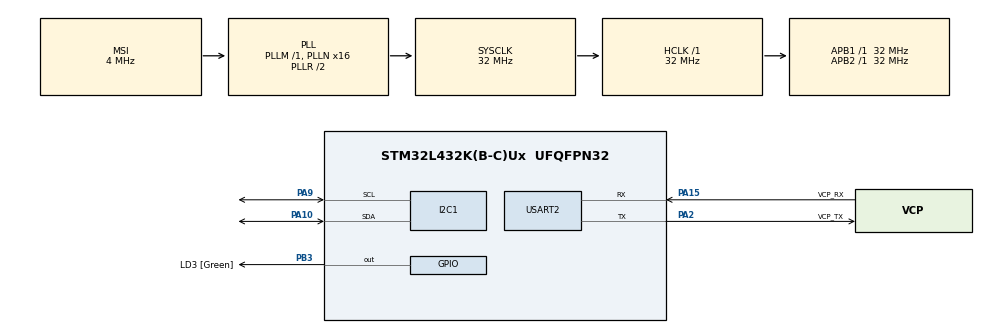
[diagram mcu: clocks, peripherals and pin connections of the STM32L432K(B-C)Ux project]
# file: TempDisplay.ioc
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I2C1.Timing=0x00707CBB
Mcu.Family=STM32L4
Mcu.Name=STM32L432K(B-C)Ux
Mcu.Package=UFQFPN32
NVIC.I2C1_EV_IRQn=true\:0\:0\:false\:false\:true\:true\:true
NVIC.PriorityGroup=NVIC_PRIORITYGROUP_4
PA0.GPIO_Label=MCO [High speed clock in]
PA0.Mode=HSE-External-Clock-Source-for-LittleOrca
PA0.Signal=RCC_CK_IN
PA10.Mode=I2C
PA10.Signal=I2C1_SDA
PA13\ (JTMS-SWDIO).GPIO_Label=SWDIO
PA13\ (JTMS-SWDIO).Mode=Serial_Wire
PA13\ (JTMS-SWDIO).Signal=SYS_JTMS-SWDIO
PA14\ (JTCK-SWCLK).GPIO_Label=SWCLK
PA14\ (JTCK-SWCLK).Mode=Serial_Wire
PA14\ (JTCK-SWCLK).Signal=SYS_JTCK-SWCLK
PA15\ (JTDI).GPIO_Label=VCP_RX
PA15\ (JTDI).Mode=Asynchronous
PA15\ (JTDI).Signal=USART2_RX
PA2.GPIO_Label=VCP_TX
PA2.Mode=Asynchronous
PA2.Signal=USART2_TX
PA9.Mode=I2C
PA9.Signal=I2C1_SCL
PB3\ (JTDO-TRACESWO).GPIO_Label=LD3 [Green]
PB3\ (JTDO-TRACESWO).Signal=GPIO_Output
PC14-OSC32_IN\ (PC14).Mode=LSE-External-Oscillator
PC14-OSC32_IN\ (PC14).Signal=RCC_OSC32_IN
PC15-OSC32_OUT\ (PC15).Mode=LSE-External-Oscillator
PC15-OSC32_OUT\ (PC15).Signal=RCC_OSC32_OUT
ProjectManager.HeapSize=0x200
ProjectManager.StackSize=0x400
ProjectManager.TargetToolchain=MDK-ARM V5
RCC.AHBFreq_Value=32000000
RCC.APB1Freq_Value=32000000
RCC.APB1TimFreq_Value=32000000
RCC.APB2Freq_Value=32000000
RCC.APB2TimFreq_Value=32000000
RCC.CortexFreq_Value=32000000
RCC.HCLKFreq_Value=32000000
RCC.HSE_VALUE=8000000
RCC.HSI16_VALUE=16000000
RCC.HSI48_VALUE=48000000
RCC.HSI_VALUE=16000000
RCC.MSI_VALUE=4000000
RCC.PLLMUL=RCC_PLLMUL_4
RCC.PLLN=16
RCC.SYSCLKFreq_VALUE=32000000
RCC.SYSCLKSource=RCC_SYSCLKSOURCE_PLLCLK
RCC.VCOOutputFreq_Value=64000000
USART2.VirtualMode-Asynchronous=VM_ASYNC
board=NUCLEO-L432KC

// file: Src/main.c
/* USER CODE BEGIN Header */
/**
  ******************************************************************************
  * @file           : main.c
  * @brief          : Main program body
  ******************************************************************************
  * @attention
  *
  * <h2><center>&copy; Copyright (c) 2020 STMicroelectronics.
  * All rights reserved.</center></h2>
  *
  * This software component is licensed by ST under BSD 3-Clause license,
  * the "License"; You may not use this file except in compliance with the
  * License. You may obtain a copy of the License at:
  *                        opensource.org/licenses/BSD-3-Clause
  *
  ******************************************************************************
  */
/* USER CODE END Header */

#include "main.h"

/* USER CODE BEGIN Includes */
#include "bmp280.h"
#include <string.h>
#include <stdio.h>
#include "ssd1306.h"
#include "ssd1306_fonts.h"
/* USER CODE END Includes */

/* USER CODE BEGIN PTD */
BMP280_HandleTypeDef bmp280;
float pressure,temp,humid;
uint16_t size;
uint8_t data[256];
/* USER CODE END PTD */

I2C_HandleTypeDef hi2c1;

UART_HandleTypeDef huart2;

void SystemClock_Config(void);
static void MX_GPIO_Init(void);
static void MX_I2C1_Init(void);
static void MX_USART2_UART_Init(void);

int main(void)
{

  /* MCU Configuration--------------------------------------------------------*/

  /* Reset of all peripherals, Initializes the Flash interface and the Systick. */
  HAL_Init();

  /* Configure the system clock */
  SystemClock_Config();

  /* Initialize all configured peripherals */
  MX_GPIO_Init();
  MX_I2C1_Init();
  MX_USART2_UART_Init();
  /* USER CODE BEGIN 2 */
	// Initialize the Temperature sensor
	bmp280_init_default_params(&bmp280.params);
	bmp280.addr=BMP280_I2C_ADDRESS_0;
	bmp280.i2c=&hi2c1;

	while (!bmp280_init(&bmp280,&bmp280.params)) {
		HAL_Delay(1000);
	}
	// Initialize the LCD screen
	ssd1306_Init();
	char display[64];
  /* USER CODE END 2 */

  /* Infinite loop */
  while (1)
  {
		HAL_Delay(1000);
		while(!bmp280_read_float(&bmp280,&temp,&pressure,&humid)){
			HAL_Delay(1000);
		}
		sprintf((char*)display,"Temp: %.2f F",1.8*temp+32);
		ssd1306_Fill(Black);
		ssd1306_SetCursor(0,1);
		ssd1306_WriteString(display,Font_7x10,White);
		ssd1306_UpdateScreen();

  }
}

void SystemClock_Config(void)
{
  RCC_OscInitTypeDef RCC_OscInitStruct = {0};
  RCC_ClkInitTypeDef RCC_ClkInitStruct = {0};
  RCC_PeriphCLKInitTypeDef PeriphClkInit = {0};

  /** Configure LSE Drive Capability
  */
  HAL_PWR_EnableBkUpAccess();
  __HAL_RCC_LSEDRIVE_CONFIG(RCC_LSEDRIVE_LOW);
  /** Initializes the CPU, AHB and APB busses clocks
  */
  RCC_OscInitStruct.OscillatorType = RCC_OSCILLATORTYPE_LSE|RCC_OSCILLATORTYPE_MSI;
  RCC_OscInitStruct.LSEState = RCC_LSE_ON;
  RCC_OscInitStruct.MSIState = RCC_MSI_ON;
  RCC_OscInitStruct.MSICalibrationValue = 0;
  RCC_OscInitStruct.MSIClockRange = RCC_MSIRANGE_6;
  RCC_OscInitStruct.PLL.PLLState = RCC_PLL_ON;
  RCC_OscInitStruct.PLL.PLLSource = RCC_PLLSOURCE_MSI;
  RCC_OscInitStruct.PLL.PLLM = 1;
  RCC_OscInitStruct.PLL.PLLN = 16;
  RCC_OscInitStruct.PLL.PLLP = RCC_PLLP_DIV7;
  RCC_OscInitStruct.PLL.PLLQ = RCC_PLLQ_DIV2;
  RCC_OscInitStruct.PLL.PLLR = RCC_PLLR_DIV2;
  if (HAL_RCC_OscConfig(&RCC_OscInitStruct) != HAL_OK)
  {
    Error_Handler();
  }
  /** Initializes the CPU, AHB and APB busses clocks
  */
  RCC_ClkInitStruct.ClockType = RCC_CLOCKTYPE_HCLK|RCC_CLOCKTYPE_SYSCLK
                              |RCC_CLOCKTYPE_PCLK1|RCC_CLOCKTYPE_PCLK2;
  RCC_ClkInitStruct.SYSCLKSource = RCC_SYSCLKSOURCE_PLLCLK;
  RCC_ClkInitStruct.AHBCLKDivider = RCC_SYSCLK_DIV1;
  RCC_ClkInitStruct.APB1CLKDivider = RCC_HCLK_DIV1;
  RCC_ClkInitStruct.APB2CLKDivider = RCC_HCLK_DIV1;

  if (HAL_RCC_ClockConfig(&RCC_ClkInitStruct, FLASH_LATENCY_1) != HAL_OK)
  {
    Error_Handler();
  }
  PeriphClkInit.PeriphClockSelection = RCC_PERIPHCLK_USART2|RCC_PERIPHCLK_I2C1;
  PeriphClkInit.Usart2ClockSelection = RCC_USART2CLKSOURCE_PCLK1;
  PeriphClkInit.I2c1ClockSelection = RCC_I2C1CLKSOURCE_PCLK1;
  if (HAL_RCCEx_PeriphCLKConfig(&PeriphClkInit) != HAL_OK)
  {
    Error_Handler();
  }
  /** Configure the main internal regulator output voltage
  */
  if (HAL_PWREx_ControlVoltageScaling(PWR_REGULATOR_VOLTAGE_SCALE1) != HAL_OK)
  {
    Error_Handler();
  }
  /** Enable MSI Auto calibration
  */
  HAL_RCCEx_EnableMSIPLLMode();
}

static void MX_I2C1_Init(void)
{

  hi2c1.Instance = I2C1;
  hi2c1.Init.Timing = 0x00707CBB;
  hi2c1.Init.OwnAddress1 = 0;
  hi2c1.Init.AddressingMode = I2C_ADDRESSINGMODE_7BIT;
  hi2c1.Init.DualAddressMode = I2C_DUALADDRESS_DISABLE;
  hi2c1.Init.OwnAddress2 = 0;
  hi2c1.Init.OwnAddress2Masks = I2C_OA2_NOMASK;
  hi2c1.Init.GeneralCallMode = I2C_GENERALCALL_DISABLE;
  hi2c1.Init.NoStretchMode = I2C_NOSTRETCH_DISABLE;
  if (HAL_I2C_Init(&hi2c1) != HAL_OK)
  {
    Error_Handler();
  }
  /** Configure Analogue filter
  */
  if (HAL_I2CEx_ConfigAnalogFilter(&hi2c1, I2C_ANALOGFILTER_ENABLE) != HAL_OK)
  {
    Error_Handler();
  }
  /** Configure Digital filter
  */
  if (HAL_I2CEx_ConfigDigitalFilter(&hi2c1, 0) != HAL_OK)
  {
    Error_Handler();
  }

}

static void MX_USART2_UART_Init(void)
{

  huart2.Instance = USART2;
  huart2.Init.BaudRate = 115200;
  huart2.Init.WordLength = UART_WORDLENGTH_8B;
  huart2.Init.StopBits = UART_STOPBITS_1;
  huart2.Init.Parity = UART_PARITY_NONE;
  huart2.Init.Mode = UART_MODE_TX_RX;
  huart2.Init.HwFlowCtl = UART_HWCONTROL_NONE;
  huart2.Init.OverSampling = UART_OVERSAMPLING_16;
  huart2.Init.OneBitSampling = UART_ONE_BIT_SAMPLE_DISABLE;
  huart2.AdvancedInit.AdvFeatureInit = UART_ADVFEATURE_NO_INIT;
  if (HAL_UART_Init(&huart2) != HAL_OK)
  {
    Error_Handler();
  }

}

static void MX_GPIO_Init(void)
{
  GPIO_InitTypeDef GPIO_InitStruct = {0};

  /* GPIO Ports Clock Enable */
  __HAL_RCC_GPIOC_CLK_ENABLE();
  __HAL_RCC_GPIOA_CLK_ENABLE();
  __HAL_RCC_GPIOB_CLK_ENABLE();

  /*Configure GPIO pin Output Level */
  HAL_GPIO_WritePin(LD3_GPIO_Port, LD3_Pin, GPIO_PIN_RESET);

  /*Configure GPIO pin : LD3_Pin */
  GPIO_InitStruct.Pin = LD3_Pin;
  GPIO_InitStruct.Mode = GPIO_MODE_OUTPUT_PP;
  GPIO_InitStruct.Pull = GPIO_NOPULL;
  GPIO_InitStruct.Speed = GPIO_SPEED_FREQ_LOW;
  HAL_GPIO_Init(LD3_GPIO_Port, &GPIO_InitStruct);

}

void Error_Handler(void)
{
}

/************************ (C) COPYRIGHT STMicroelectronics *****END OF FILE****/
